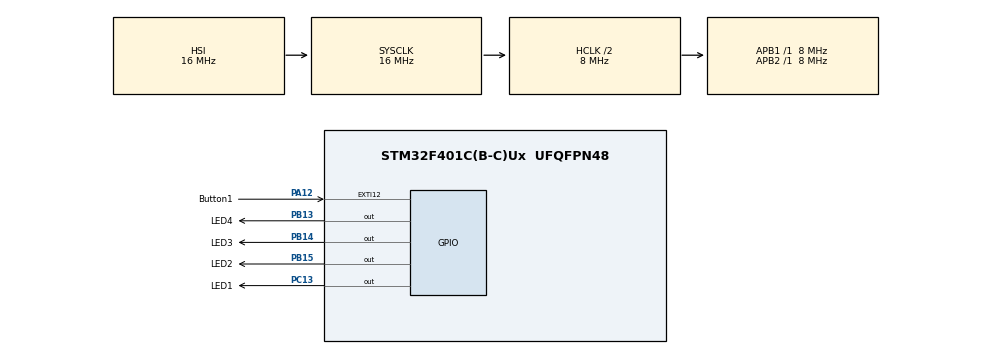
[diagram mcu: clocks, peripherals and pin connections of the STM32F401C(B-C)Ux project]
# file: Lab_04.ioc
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Mcu.Family=STM32F4
Mcu.Name=STM32F401C(B-C)Ux
Mcu.Package=UFQFPN48
NVIC.EXTI15_10_IRQn=true\:15\:0\:true\:true\:true\:4\:true\:true\:true
NVIC.PriorityGroup=NVIC_PRIORITYGROUP_4
NVIC.TIM2_IRQn=true\:0\:0\:true\:true\:true\:3\:true\:true\:true
NVIC.TIM3_IRQn=true\:0\:0\:false\:true\:true\:1\:true\:true\:true
NVIC.TIM4_IRQn=true\:0\:0\:false\:true\:true\:2\:true\:true\:true
PA12.GPIO_Label=Button1
PA12.GPIO_ModeDefaultEXTI=GPIO_MODE_IT_RISING_FALLING
PA12.GPIO_PuPd=GPIO_NOPULL
PA12.Signal=GPXTI12
PA13.Mode=Serial_Wire
PA13.Signal=SYS_JTMS-SWDIO
PA14.Mode=Serial_Wire
PA14.Signal=SYS_JTCK-SWCLK
PB13.GPIO_Label=LED4
PB13.Signal=GPIO_Output
PB14.GPIO_Label=LED3
PB14.Signal=GPIO_Output
PB15.GPIO_Label=LED2
PB15.Signal=GPIO_Output
PC13-ANTI_TAMP.GPIO_Label=LED1
PC13-ANTI_TAMP.Signal=GPIO_Output
ProjectManager.HeapSize=0x200
ProjectManager.StackSize=0x400
ProjectManager.TargetToolchain=STM32CubeIDE
RCC.AHBCLKDivider=RCC_SYSCLK_DIV2
RCC.AHBFreq_Value=8000000
RCC.APB1Freq_Value=8000000
RCC.APB1TimFreq_Value=8000000
RCC.APB2Freq_Value=8000000
RCC.APB2TimFreq_Value=8000000
RCC.CortexFreq_Value=8000000
RCC.HCLKFreq_Value=8000000
RCC.HSE_VALUE=25000000
RCC.HSI_VALUE=16000000
RCC.LSE_VALUE=32768
RCC.SYSCLKFreq_VALUE=16000000
RCC.VCOOutputFreq_Value=192000000
TIM2.Period=200
TIM2.Prescaler=4000
TIM2.TIM_MasterOutputTrigger=TIM_TRGO_UPDATE
TIM3.Period=400
TIM3.Prescaler=4000
TIM3.TIM_MasterOutputTrigger=TIM_TRGO_UPDATE
TIM4.Period=600
TIM4.Prescaler=4000
TIM4.TIM_MasterOutputTrigger=TIM_TRGO_UPDATE
VP_TIM2_VS_ClockSourceINT.Mode=Internal
VP_TIM3_VS_ClockSourceINT.Mode=Internal
VP_TIM4_VS_ClockSourceINT.Mode=Internal
board=custom

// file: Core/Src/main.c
/* USER CODE BEGIN Header */
/**
  ******************************************************************************
  * @file           : main.c
  * @brief          : Main program body
  ******************************************************************************
  * @attention
  *
  * Copyright (c) 2022 STMicroelectronics.
  * All rights reserved.
  *
  * This software is licensed under terms that can be found in the LICENSE file
  * in the root directory of this software component.
  * If no LICENSE file comes with this software, it is provided AS-IS.
  *
  ******************************************************************************
  */
/* USER CODE END Header */
#include "main.h"
#include "tim.h"
#include "gpio.h"

void SystemClock_Config(void);
static void MX_NVIC_Init(void);

int main(void)
{

  /* MCU Configuration--------------------------------------------------------*/

  /* Reset of all peripherals, Initializes the Flash interface and the Systick. */
  HAL_Init();

  /* Configure the system clock */
  SystemClock_Config();

  /* Initialize all configured peripherals */
  MX_GPIO_Init();
  MX_TIM2_Init();
  MX_TIM3_Init();
  MX_TIM4_Init();

  /* Initialize interrupts */
  MX_NVIC_Init();
  /* USER CODE BEGIN 2 */
  HAL_TIM_Base_Start_IT(&htim2);
  HAL_TIM_Base_Start_IT(&htim3);
  HAL_TIM_Base_Start_IT(&htim4);
  /* USER CODE END 2 */

  /* Infinite loop */
  /* USER CODE BEGIN WHILE */
  while (1)
  {
    HAL_GPIO_TogglePin(LED2_GPIO_Port, LED2_Pin);
    HAL_Delay(500);
    /* USER CODE END WHILE */

  }
}

void SystemClock_Config(void)
{
  RCC_OscInitTypeDef RCC_OscInitStruct = {0};
  RCC_ClkInitTypeDef RCC_ClkInitStruct = {0};

  /** Configure the main internal regulator output voltage
  */
  __HAL_RCC_PWR_CLK_ENABLE();
  __HAL_PWR_VOLTAGESCALING_CONFIG(PWR_REGULATOR_VOLTAGE_SCALE2);

  /** Initializes the RCC Oscillators according to the specified parameters
  * in the RCC_OscInitTypeDef structure.
  */
  RCC_OscInitStruct.OscillatorType = RCC_OSCILLATORTYPE_HSI;
  RCC_OscInitStruct.HSIState = RCC_HSI_ON;
  RCC_OscInitStruct.HSICalibrationValue = RCC_HSICALIBRATION_DEFAULT;
  RCC_OscInitStruct.PLL.PLLState = RCC_PLL_NONE;
  if (HAL_RCC_OscConfig(&RCC_OscInitStruct) != HAL_OK)
  {
    Error_Handler();
  }

  /** Initializes the CPU, AHB and APB buses clocks
  */
  RCC_ClkInitStruct.ClockType = RCC_CLOCKTYPE_HCLK|RCC_CLOCKTYPE_SYSCLK
                              |RCC_CLOCKTYPE_PCLK1|RCC_CLOCKTYPE_PCLK2;
  RCC_ClkInitStruct.SYSCLKSource = RCC_SYSCLKSOURCE_HSI;
  RCC_ClkInitStruct.AHBCLKDivider = RCC_SYSCLK_DIV2;
  RCC_ClkInitStruct.APB1CLKDivider = RCC_HCLK_DIV1;
  RCC_ClkInitStruct.APB2CLKDivider = RCC_HCLK_DIV1;

  if (HAL_RCC_ClockConfig(&RCC_ClkInitStruct, FLASH_LATENCY_0) != HAL_OK)
  {
    Error_Handler();
  }
}

/**
  * @brief NVIC Configuration.
  * @retval None
  */
static void MX_NVIC_Init(void)
{
  /* TIM3_IRQn interrupt configuration */
  HAL_NVIC_SetPriority(TIM3_IRQn, 0, 0);
  HAL_NVIC_EnableIRQ(TIM3_IRQn);
  /* TIM4_IRQn interrupt configuration */
  HAL_NVIC_SetPriority(TIM4_IRQn, 0, 0);
  HAL_NVIC_EnableIRQ(TIM4_IRQn);
  /* TIM2_IRQn interrupt configuration */
  HAL_NVIC_SetPriority(TIM2_IRQn, 0, 0);
  HAL_NVIC_EnableIRQ(TIM2_IRQn);
  /* EXTI15_10_IRQn interrupt configuration */
  HAL_NVIC_SetPriority(EXTI15_10_IRQn, 15, 0);
  HAL_NVIC_EnableIRQ(EXTI15_10_IRQn);
}

/* USER CODE BEGIN 4 */
void HAL_TIM_PeriodElapsedCallback(TIM_HandleTypeDef *htim)
{
	if(htim->Instance == TIM2)
	{
		HAL_GPIO_TogglePin(LED1_GPIO_Port, LED1_Pin);

	}
	if(htim->Instance == TIM3)
	{
		HAL_GPIO_TogglePin(LED3_GPIO_Port, LED3_Pin);
	}
	if(htim->Instance == TIM4)
	{
		HAL_GPIO_TogglePin(LED4_GPIO_Port, LED4_Pin);
	}
}
void HAL_GPIO_EXTI_Callback(uint16_t GPIO_Pin)
{
	static int count = 0;
	if(GPIO_Pin == Button1_Pin)
	{
		if (count == 0)
		{
		count = 1;
		HAL_TIM_Base_Stop_IT(&htim2);
		HAL_TIM_Base_Stop_IT(&htim3);
		HAL_TIM_Base_Stop_IT(&htim4);
		return;
		}
		if (count == 1)
		{
		count = 0;
		HAL_TIM_Base_Start_IT(&htim2);
		HAL_TIM_Base_Start_IT(&htim3);
		HAL_TIM_Base_Start_IT(&htim4);
		return;
		}
	}

}
/* USER CODE END 4 */

void Error_Handler(void)
{
  __disable_irq();
  while (1)
  {
  }
}
